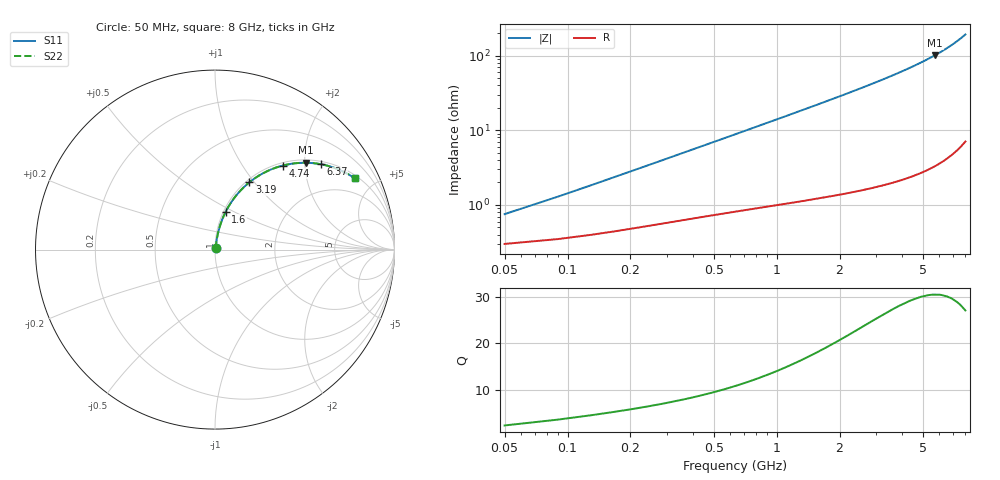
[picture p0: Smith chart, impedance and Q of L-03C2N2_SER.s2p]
! L-03C2N2
! Data taken by Rita
! Created Thu Jun 15 17:22:34 2006
# hz S ma R 50
! 2 Port Network Data from SP1.SP block
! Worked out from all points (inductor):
!   201 points, 50 MHz to 8 GHz, reference 50 ohm
!   read as one part in series: L = 2.2 nH near 89.75 MHz
!   highest Q = 30.6 at 5.734 GHz (marker M1), where L = 2.81 nH
!   S11 on the Smith chart (normalised r, x): 50 MHz: 1.01, +0.01; 1.6 GHz: 1.02, +0.45; 3.19 GHz: 1.04, +0.95; 4.74 GHz: 1.05, +1.54; 6.37 GHz: 1.08, +2.41; 8 GHz: 1.14, +3.83
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5e7  0.007514 66.1  0.997 -0.4  0.997 -0.4  0.007514 66.1
8.975e7  0.01284 73.6  0.9964 -0.7  0.9964 -0.7  0.01284 73.6
1.295e8  0.01826 76.5  0.9959 -1.0  0.9959 -1.0  0.01826 76.5
1.6925e8  0.02371 77.9  0.9953 -1.3  0.9953 -1.3  0.02371 77.9
2.09e8  0.02915 78.8  0.9947 -1.6  0.9947 -1.6  0.02915 78.8
2.885e8  0.04004 79.6  0.9936 -2.3  0.9936 -2.3  0.04004 79.6
4.0775e8  0.05635 80.1  0.9918 -3.2  0.9918 -3.2  0.05635 80.1
5.6675e8  0.07805 79.9  0.9893 -4.5  0.9893 -4.5  0.07805 79.9
8.0525e8  0.1105 79.1  0.985 -6.3  0.985 -6.3  0.1105 79.1
1.0835e9  0.1481 77.6  0.979 -8.5  0.979 -8.5  0.1481 77.6
1.4015e9  0.1908 75.7  0.9705 -11.0  0.9705 -11.0  0.1908 75.7
1.6003e9  0.2173 74.3  0.9644 -12.5  0.9644 -12.5  0.2173 74.3
2.117e9  0.2853 70.8  0.9452 -16.6  0.9452 -16.6  0.2853 70.8
2.7133e9  0.3619 66.4  0.9174 -21.2  0.9174 -21.2  0.3619 66.4
3.1903e9  0.4215 62.9  0.8909 -24.9  0.8909 -24.9  0.4215 62.9
4.025e9  0.5209 56.6  0.8356 -31.4  0.8356 -31.4  0.5209 56.6
4.7405e9  0.6004 51.2  0.7799 -36.9  0.7799 -36.9  0.6004 51.2
5.3765e9  0.6659 46.4  0.7245 -41.7  0.7245 -41.7  0.6659 46.4
5.7343e9  0.7003 43.7  0.6913 -44.4  0.6913 -44.4  0.7003 43.7
6.3703e9  0.757 38.9  0.6289 -49.2  0.6289 -49.2  0.757 38.9
6.6883e9  0.783 36.6  0.5964 -51.5  0.5964 -51.5  0.783 36.6
8e9  0.8735 27.1  0.4557 -60.8  0.4557 -60.8  0.8735 27.1
